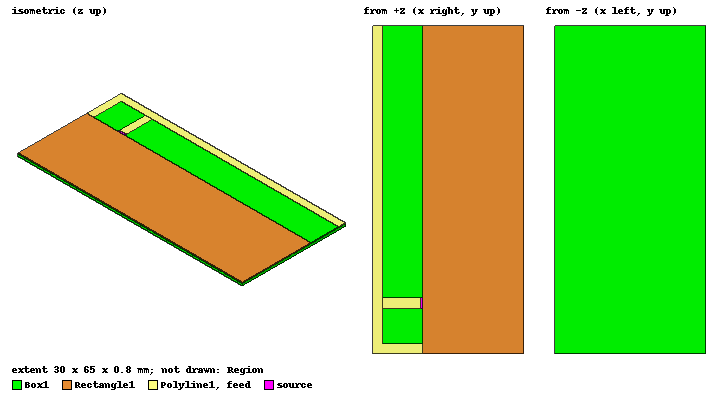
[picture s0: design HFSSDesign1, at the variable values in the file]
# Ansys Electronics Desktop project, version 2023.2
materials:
  vacuum: permittivity=1
  FR4_epoxy: permittivity=4.4 dielectric_loss_tangent=0.02

design HFSSDesign1 (HFSS, HFSS Terminal Network, model units mm)
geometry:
  Box1 [FR4_epoxy] = box(corner=(0mm, 0mm, 0mm), size=(30mm, 65mm, 0.8mm))
  Rectangle1 = rectangle(corner=(30mm, 50mm, 0.8mm), x_size=-30mm, y_size=-50mm)
  Rectangle2 = rectangle(corner=(0mm, 50mm, 0.8mm), x_size=10mm, y_size=-50mm)
  Rectangle1.subtract(Rectangle2)
  Polyline1 = polyline(z=0.8mm, xy in mm: (10, 1) (1, 1) (1, 65), section line width=2mm)
  feed = polyline((9.5mm, 10mm, 0.8mm) (2mm, 10mm, 0.8mm), section line width=2mm)
  source = rectangle(corner=(9.5mm, 11mm, 0.8mm), x_size=0.5mm, y_size=-2mm)
  Region [vacuum] = region(absolute_offset=20mm on all sides)
  Rectangle3 = rectangle(corner=(30mm, 65mm, 0.8mm), x_size=-20mm, y_size=-15mm)
  Rectangle1.unite(Rectangle3)
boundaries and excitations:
  PerfE: Perfect E Faces=Polyline1.face feed.face Rectangle1.face(at (20, 32.5, 0.8))
  FE-BI1: FE-BI Objects=Region UseAdaptiveIE
  1: Lumped Port Faces=source.face LumpedPortType=Modal Modes{Mode1{IntLine{(10, 10, 0.8) -> (9.5, 10, 0.8)} CharImp=Zpi RenormImp=50ohm}} Impedance=50ohm
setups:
  Setup1: HfssDriven Frequency=1.2GHz MaxDeltaS=0.01 MaximumPasses=50 MinimumPasses=1 MinimumConvergedPasses=1 PercentRefinement=30 BasisOrder=1 PortAccuracy=2 DrivenSolverType="Domain Decomposition" IterativeResidual=1e-06 DDMSolverResidual=0.0001
    sweep Sweep: 0.6GHz to 1.8GHz step 0.03GHz; Type=Discrete
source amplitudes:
  1:1: 1V 0deg
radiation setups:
  Infinite Sphere1: Infinite Sphere Theta=-180deg..180deg step 1deg Phi=-180deg..180deg step 1deg
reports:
  S Parameter Plot 1: dB(S(1,1)) vs Freq on Setup1 : Sweep; markers m1 at 0.96GHz
